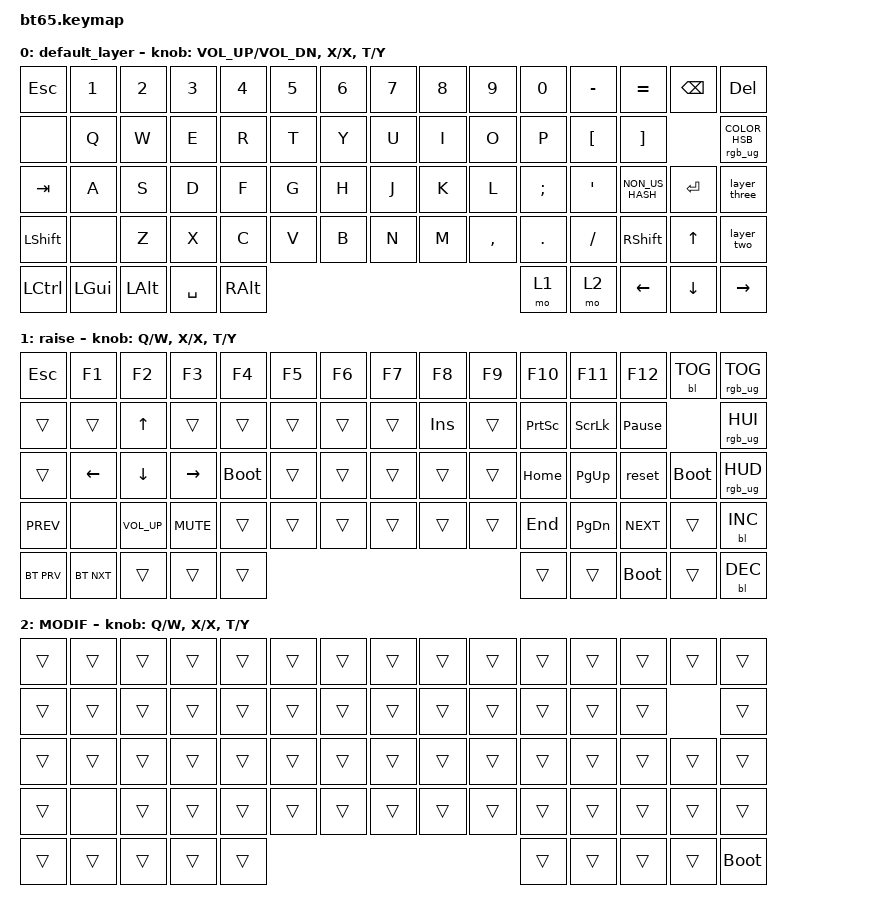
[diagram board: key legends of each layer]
#include <behaviors.dtsi>
#include <dt-bindings/zmk/keys.h>
#include <dt-bindings/zmk/bt.h>
#include <dt-bindings/zmk/rgb.h>
#include <dt-bindings/zmk/backlight.h>
#include <dt-bindings/zmk/ext_power.h>


/ {
	macros {
		layer_two: layer_two {
			label = "layer_two";
			compatible = "zmk,behavior-macro";
			#binding-cells = <0>;
			wait-ms = <0>;
			tap-ms = <0>;
			bindings
   				= <&macro_press &mo 1>
				, <&macro_press &rgb_ug RGB_COLOR_HSB(314,80,80)>
				, <&macro_pause_for_release>
				, <&macro_release &mo 1>
				, <&macro_tap &rgb_ug RGB_COLOR_HSB(0,0,100)>;
		};
		layer_three: layer_three {
			label = "layer_three";
			compatible = "zmk,behavior-macro";
			#binding-cells = <0>;
			wait-ms = <0>;
			tap-ms = <0>;
			bindings
   				= <&macro_press &mo 2>
				, <&macro_tap &rgb_ug RGB_COLOR_HSB(200,100,100)>
				, <&macro_pause_for_release>
				, <&macro_release &mo 2>
				, <&macro_tap &rgb_ug RGB_COLOR_HSB(35,60,100)>;
		};
	};
	keymap {
		compatible = "zmk,keymap";

		default_layer {
				// ------------------------------------------------------------------------------------------------------------
				// | ESC |  1  |  2  |  3  |  4  |  5  |  6  |  7  |  8  |  9  |  0  |  ß  |  =  |BKSP | DEL | 		15
				// |     |  Q  |  W  |  E  |  R  |  T  |  Z  |  U  |  I  |  O  |  P  |  Ü  |  +  |RGB  | 		14 (kein Enter)
				// | TAB |  A  |  S  |  D  |  F  |  G  |  H  |  J  |  K  |  L  |  Ö  |  Ä  |  #  |ENTER|Lay3 | 		15 (hier Enter)
				// |SHIFT|     |  Y  |  X  |  C  |  V  |  B  |  N  |  M  |  ,  |  .  |  -  |SHIFT| UP  |Lay2 | 		15 (1 dead)
				// | CTL | WIN | ALT |            SPACE            | ALT |mo 1 |mo 2 |LEFT |DOWN |RIGHT|		10
				// ------------------------------------------------------------------------------------------------------------
			bindings = <

				&kp ESC   &kp N1   &kp N2 &kp N3 &kp N4 &kp N5 &kp N6 &kp N7 &kp N8 &kp N9 &kp N0 &kp MINUS &kp EQUAL &kp BKSP &kp DEL
				&none	  &kp Q    &kp W  &kp E  &kp R  &kp T  &kp Y  &kp U  &kp I  &kp O  &kp P  &kp LBKT  &kp RBKT  	       &rgb_ug RGB_COLOR_HSB(0,0,100)
				&kp TAB   &kp A    &kp S  &kp D  &kp F  &kp G  &kp H  &kp J  &kp K  &kp L  &kp SEMI &kp SQT &kp NON_US_HASH    &kp RET &layer_three
				&kp LSHFT &none    &kp Z  &kp X  &kp C  &kp V  &kp B  &kp N  &kp M  &kp COMMA &kp DOT &kp FSLH &kp RSHFT &kp UP &layer_two
				&kp LCTRL &kp LGUI &kp LALT            &kp SPACE                    &kp RALT  &mo 1 &mo 2 &kp LEFT &kp DOWN &kp RIGHT
			>;
			//		  Encoder low				none			Encoder high
			sensor-bindings = <&inc_dec_kp C_VOL_UP C_VOL_DN 	&inc_dec_kp X X 	&inc_dec_kp T Y>;
		};
		
		raise {
				// ------------------------------------------------------------------------------------------------------------
				// | ESC |  1  |  2  |  3  |  4  |  5  |  6  |  7  |  8  |  9  |  0  |  -  |  =  |BKSP | INS | 		15
				// |     |  Q  |  W  |  E  |  R  |  T  |  Z  |  U  |  I  |  O  |  P  |  [  |  ]  |DEL  | 		14 (kein Enter)
				// | TAB |  A  |  S  |  D  |  F  |  G  |  H  |  J  |  K  |  L  |  ;  |  ä  |  #  |ENTER|PGUP | 		15 (hier Enter)
				// |SHIFT|     |  Y  |  X  |  C  |  V  |  B  |  N  |  M  |  ,  |  .  |  -  |SHIFT| UP  |PGDN | 		15 (1 dead)
				// | CTL | WIN | ALT |            SPACE            | ALT |mo 1 |MENU |LEFT |DOWN |RIGHT|		10
				// ------------------------------------------------------------------------------------------------------------
			bindings = <
				&kp ESC    &kp F1     &kp F2       &kp F3     &kp F4      &kp F5 &kp F6 &kp F7 &kp F8  &kp F9 &kp F10     &kp F11    &kp F12          &bl BL_TOG       &rgb_ug RGB_TOG
				&trans     &trans     &kp UP       &trans     &trans      &trans &trans &trans &kp INS &trans &kp PSCRN   &kp SLCK   &kp PAUSE_BREAK  &rgb_ug RGB_HUI
				&trans     &kp LEFT   &kp DOWN     &kp RIGHT  &bootloader &trans &trans &trans &trans  &trans &kp HOME    &kp PG_UP  &reset           &bootloader      &rgb_ug RGB_HUD
				&kp C_PREV &none      &kp C_VOL_UP &kp C_MUTE &trans      &trans &trans &trans &trans  &trans &kp END     &kp PG_DN  &kp C_NEXT       &trans           &bl BL_INC
				&bt BT_PRV &bt BT_NXT &trans              &trans                        &trans &trans  &trans &bootloader &trans     &bl BL_DEC
			>;
			//		  Encoder low		none				Encoder high
			sensor-bindings = <&inc_dec_kp Q W 	&inc_dec_kp X X 	&inc_dec_kp T Y>;
		};
		
		MODIF {
				// ------------------------------------------------------------------------------------------------------------
				// |trans|trans|trans|trans|  4  |  5  |  6  |  7  |  8  |  9  |  0  |  -  |  =  |BKSP | INS | 		15
				// |     |  Q  |  W  |  E  |  R  |  T  |  Z  |  U  |  I  |  O  |  P  |  [  |  ]  |DEL  | 		14 (kein Enter)
				// | TAB |  A  |  S  |  D  |  F  |  G  |  H  |  J  |  K  |  L  |  ;  |  ä  |  #  |ENTER|PGUP | 		15 (hier Enter)
				// |SHIFT|     |  Y  |  X  |  C  |  V  |  B  |  N  |  M  |  ,  |  .  |  -  |SHIFT| UP  |PGDN | 		15 (1 dead)
				// | CTL | WIN | ALT |            SPACE            | ALT |mo 1 |MENU |LEFT |DOWN |RIGHT|		10
				// ------------------------------------------------------------------------------------------------------------
			bindings = <
				&trans &trans &trans &trans &trans &trans &trans &trans &trans &trans &trans &trans &trans &trans &trans
				&trans &trans &trans &trans &trans &trans &trans &trans &trans &trans &trans &trans &trans &trans
				&trans &trans &trans &trans &trans &trans &trans &trans &trans &trans &trans &trans &trans &trans &trans
				&trans &none  &trans &trans &trans &trans &trans &trans &trans &trans &trans &trans &trans &trans &trans
				&trans &trans &trans               &trans                      &trans &trans &trans &trans &trans &bootloader
			>;
			//		  Encoder low		none			Encoder high
			sensor-bindings = <&inc_dec_kp Q W 	&inc_dec_kp X X 	&inc_dec_kp T Y>;
		};

	};
};
